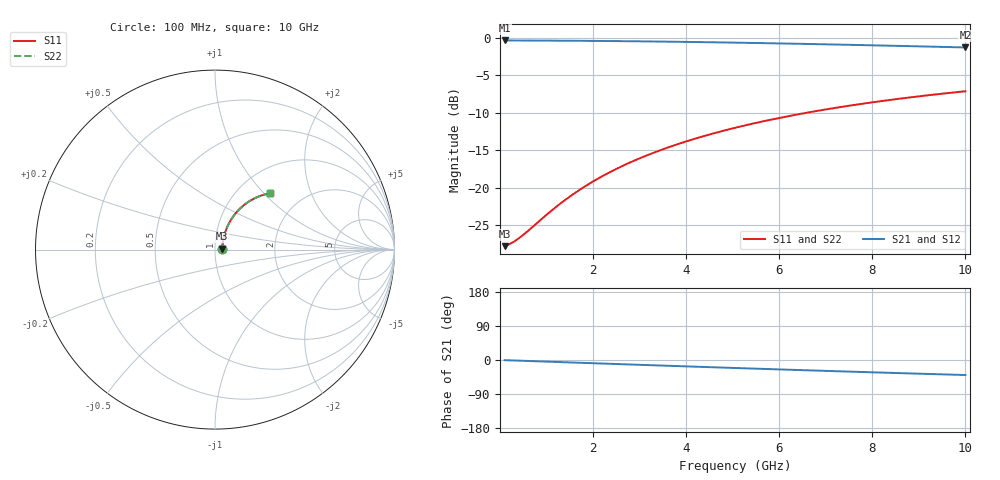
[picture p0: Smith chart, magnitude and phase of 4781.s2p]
# Hz S RI R 50.00
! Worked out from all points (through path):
!   100 points, 100 MHz to 10 GHz, reference 50 ohm
!   highest |S21| = -0.36 dB at 100 MHz (marker M1); lowest = -1.3 dB at 10 GHz (marker M2)
!   group delay of S21, straight-line fit = 11 ps
!   lowest |S11| = -27.8 dB at 100 MHz (marker M3), VSWR 1.08, Z = 54.2 + j0.524 ohm
!   |S11| at or under -10 dB: start of sweep to 6.602 GHz
!   |S22| runs from -27.8 to -7.1 dB; largest |S21 - S12| = 0
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1e8  0.0403 0.00482  0.9597 -0.00715  0.9597 -0.00715  0.0403 0.00482
2e8  0.0407 0.00964  0.9593 -0.0143  0.9593 -0.0143  0.0407 0.00964
3e8  0.041 0.0144  0.9589 -0.0214  0.9589 -0.0214  0.041 0.0144
4e8  0.0414 0.0192  0.9585 -0.0285  0.9585 -0.0285  0.0414 0.0192
6e8  0.0424 0.0288  0.9575 -0.0428  0.9575 -0.0428  0.0424 0.0288
1.2e9  0.0467 0.0573  0.9528 -0.0852  0.9528 -0.0852  0.0467 0.0573
1.5e9  0.0498 0.0713  0.9495 -0.1062  0.9495 -0.1062  0.0498 0.0713
1.8e9  0.0535 0.0852  0.9456 -0.127  0.9456 -0.127  0.0535 0.0852
2.1e9  0.0577 0.0988  0.9411 -0.1476  0.9411 -0.1476  0.0577 0.0988
2.5e9  0.0642 0.1166  0.934 -0.1748  0.934 -0.1748  0.0642 0.1166
2.9e9  0.0717 0.1339  0.9259 -0.2014  0.9259 -0.2014  0.0717 0.1339
3.4e9  0.0825 0.1547  0.9143 -0.2339  0.9143 -0.2339  0.0825 0.1547
3.8e9  0.092 0.1706  0.9039 -0.2592  0.9039 -0.2592  0.092 0.1706
4.2e9  0.1024 0.1859  0.8926 -0.2838  0.8926 -0.2838  0.1024 0.1859
4.6e9  0.1136 0.2004  0.8805 -0.3077  0.8805 -0.3077  0.1136 0.2004
5.1e9  0.1285 0.2175  0.8642 -0.3365  0.8642 -0.3365  0.1285 0.2175
5.9e9  0.1543 0.2421  0.8359 -0.38  0.8359 -0.38  0.1543 0.2421
6.7e9  0.1822 0.2633  0.8051 -0.4201  0.8051 -0.4201  0.1822 0.2633
7.5e9  0.2115 0.281  0.7726 -0.4568  0.7726 -0.4568  0.2115 0.281
8.4e9  0.2456 0.2968  0.7343 -0.4939  0.7343 -0.4939  0.2456 0.2968
9.2e9  0.2764 0.3071  0.6993 -0.5234  0.6993 -0.5234  0.2764 0.3071
1e10  0.3074 0.314  0.6638 -0.5497  0.6638 -0.5497  0.3074 0.314
